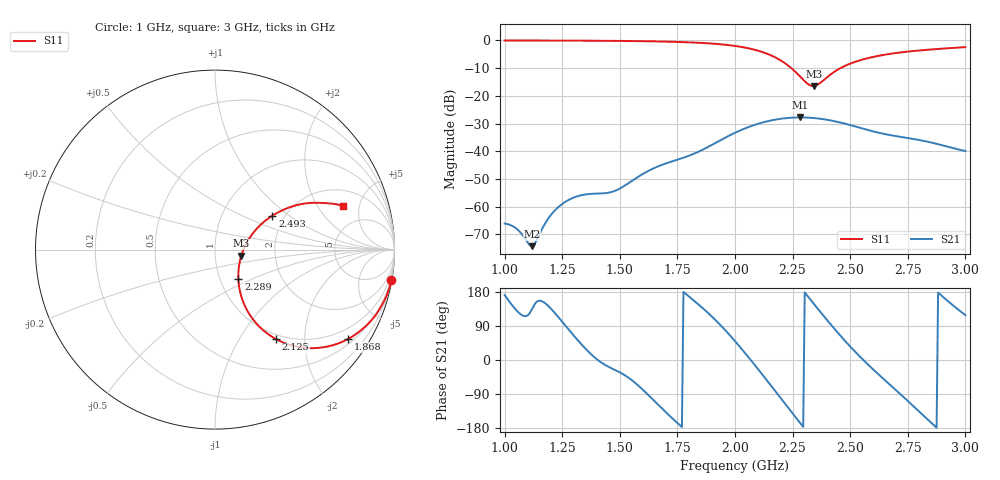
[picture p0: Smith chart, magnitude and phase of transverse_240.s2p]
! TOUCHSTONE file generated by CST MICROWAVE STUDIO
! Date and time: Tue Mar 11 13:57:58 2025
! Project name: transverse.cst
! Parameters = {Fracture=5; B=10; D=160; F=15; Feed=2.85625; L=100; M=30; R=0.384908; S=2; Theta=270; length=57.125; wave=114.25}
! Header version: 2024
! Port assignment regex: !\s*Touchstone port\s*([0-9]+)\s*=\s*(CST MWS port|CST DES external port|CST DES block port)\s*(.+)\s* \(\"(.*)\"\)(\s*mode\s*([0-9]+))?.*
! Touchstone port assignment:
! Touchstone port 1 = CST MWS port 1 ("")
! Touchstone port 2 = CST MWS port 2 ("")
# GHz S MA R 50
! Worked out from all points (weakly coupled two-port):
!   305 points, 1 GHz to 3 GHz, reference 50 ohm
!   highest |S21| = -27.80 dB at 2.283 GHz (marker M1); lowest = -74.3 dB at 1.118 GHz (marker M2)
!   lowest |S11| = -16.5 dB at 2.342 GHz (marker M3), VSWR 1.35, Z = 67 - j4.74 ohm
!   |S11| at or under -10 dB: 2.244 GHz to 2.458 GHz (213.7 MHz wide, 9.09 % of centre)
!   S12 and S22 are empty: the file has one direction only
!   S11 on the Smith chart (normalised r, x): 1 GHz: 0, -12; 1.868 GHz: 0.64, -3.18; 2.125 GHz: 0.93, -1.46; 2.289 GHz: 1.22, -0.42; 2.493 GHz: 1.73, +0.76; 3 GHz: 3.05, +3.46
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1  0.9975 -9.8  0.0004954 171.6  0 0.0  0 0.0
1.05263  0.997 -10.5  0.0003968 130.3  0 0.0  0 0.0
1.11842  0.996 -11.4  0.0001934 133.7  0 0.0  0 0.0
1.13158  0.9958 -11.6  0.0002172 148.1  0 0.0  0 0.0
1.18421  0.9944 -12.5  0.0005672 145.6  0 0.0  0 0.0
1.21711  0.9934 -13.0  0.0008457 124.7  0 0.0  0 0.0
1.26974  0.9916 -13.9  0.001266 86.6  0 0.0  0 0.0
1.33553  0.9891 -15.2  0.001616 40.0  0 0.0  0 0.0
1.47368  0.9804 -18.2  0.00189 -24.8  0 0.0  0 0.0
1.67105  0.9567 -24.3  0.00543 -120.7  0 0.0  0 0.0
1.86842  0.8943 -33.7  0.01111 132.3  0 0.0  0 0.0
2  0.7946 -43.6  0.02152 49.8  0 0.0  0 0.0
2.125  0.6041 -55.7  0.03347 -43.3  0 0.0  0 0.0
2.21053  0.4039 -62.0  0.0391 -110.0  0 0.0  0 0.0
2.28289  0.2224 -53.8  0.04074 -166.4  0 0.0  0 0.0
2.28947  0.2084 -51.3  0.04073 -171.5  0 0.0  0 0.0
2.33553  0.1506 -19.2  0.03993 153.1  0 0.0  0 0.0
2.34211  0.1504 -13.3  0.03972 148.2  0 0.0  0 0.0
2.41447  0.2419 24.8  0.036 94.5  0 0.0  0 0.0
2.49342  0.3712 30.6  0.03016 39.9  0 0.0  0 0.0
2.67105  0.5703 26.9  0.01962 -64.3  0 0.0  0 0.0
3  0.755 18.8  0.01009 118.3  0 0.0  0 0.0
